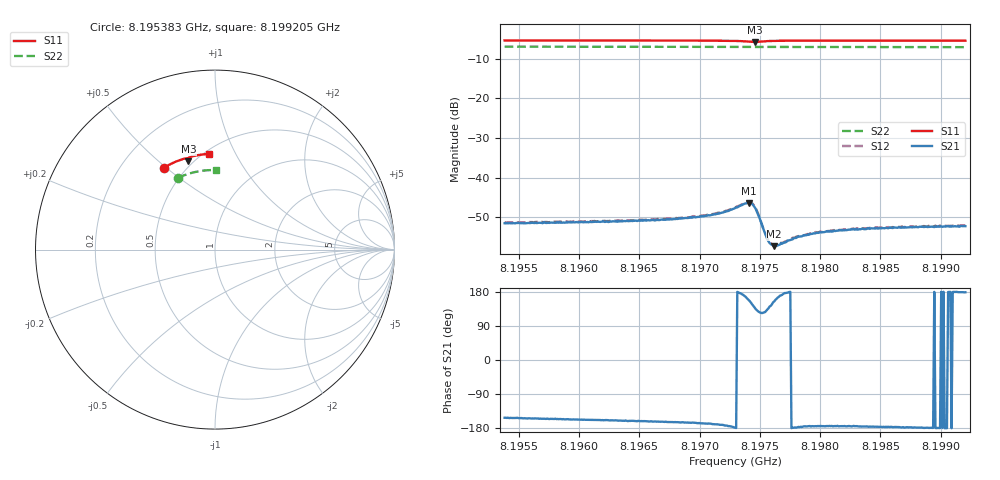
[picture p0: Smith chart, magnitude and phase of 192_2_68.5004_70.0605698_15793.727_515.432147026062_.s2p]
#  HZ  S  RI  R  50.00
! Rohde & Schwarz Vector Network Analyzer
! Rohde-Schwarz,ZNB20-2Port,1311601062101988,3.16
! Created: UTC 3/20/2024, 5:12:17 PM
! freq[Hz]  re:S11  im:S11  re:S21  im:S21  re:S12  im:S12  re:S22  im:S22
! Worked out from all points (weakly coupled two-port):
!   401 points, 8.195383 GHz to 8.199205 GHz, reference 50 ohm
!   highest |S21| = -46.35 dB at 8.197409 GHz (marker M1); lowest = -57.3 dB at 8.197619 GHz (marker M2)
!   lowest |S11| = -5.8 dB at 8.197457 GHz (marker M3), VSWR 3.12, Z = 23.5 + j31.6 ohm
!   |S11| at or under -10 dB: nowhere
!   |S22| runs from -7.1 to -7.0 dB; largest |S21 - S12| = 0.00025
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8.1953831e9  -0.2858 0.4552  -0.00236 -0.00123  -0.00248 -0.00117  -0.2042 0.3999
8.1960233e9  -0.246 0.4774  -0.00255 -0.00107  -0.00261 -0.000983  -0.1712 0.4141
8.1966636e9  -0.2039 0.4958  -0.00278 -0.000863  -0.00287 -0.000761  -0.137 0.4254
8.1969025e9  -0.1871 0.5019  -0.00299 -0.000802  -0.00307 -0.000677  -0.124 0.4292
8.1970649e9  -0.1749 0.5055  -0.00325 -0.00069  -0.00336 -0.000609  -0.115 0.4312
8.1971796e9  -0.1654 0.5075  -0.00355 -0.000567  -0.00361 -0.0004  -0.1087 0.4326
8.1972943e9  -0.1543 0.5077  -0.00412 -0.000124  -0.00419 4.01e-05  -0.1022 0.4337
8.1973803e9  -0.1453 0.5026  -0.00462 0.00104  -0.00463 0.00126  -0.0976 0.4346
8.197409e9  -0.144 0.4986  -0.00448 0.00178  -0.00446 0.00202  -0.0959 0.4348
8.1974376e9  -0.1457 0.4944  -0.00386 0.00257  -0.00384 0.00278  -0.0944 0.4352
8.1974567e9  -0.1484 0.4929  -0.0032 0.00281  -0.00314 0.00305  -0.0936 0.4352
8.1974854e9  -0.1529 0.494  -0.00215 0.00271  -0.00207 0.00287  -0.0921 0.4355
8.1975332e9  -0.1554 0.5006  -0.00126 0.00178  -0.00118 0.00185  -0.0897 0.4362
8.1975618e9  -0.1543 0.5043  -0.00115 0.00123  -0.00112 0.00131  -0.0878 0.4367
8.1975905e9  -0.1523 0.5074  -0.00116 0.000879  -0.00117 0.000955  -0.0864 0.4368
8.1976192e9  -0.15 0.5096  -0.00123 0.00059  -0.00125 0.000617  -0.0848 0.4372
8.197667e9  -0.1458 0.5123  -0.00141 0.000255  -0.00139 0.000324  -0.0821 0.4377
8.1978199e9  -0.1331 0.5177  -0.0018 -0.000109  -0.00183 -1.28e-05  -0.0735 0.4389
8.1979345e9  -0.1244 0.5202  -0.00195 -0.000187  -0.00199 -0.000127  -0.0669 0.4398
8.1982594e9  -0.1004 0.5254  -0.00222 -0.000184  -0.00225 -0.00012  -0.0486 0.4416
8.1985748e9  -0.0778 0.529  -0.00233 -0.000133  -0.00234 -3.91e-05  -0.0308 0.4427
8.1992055e9  -0.033 0.533  -0.00245 5.25e-05  -0.00248 0.000172  0.00495 0.4426
